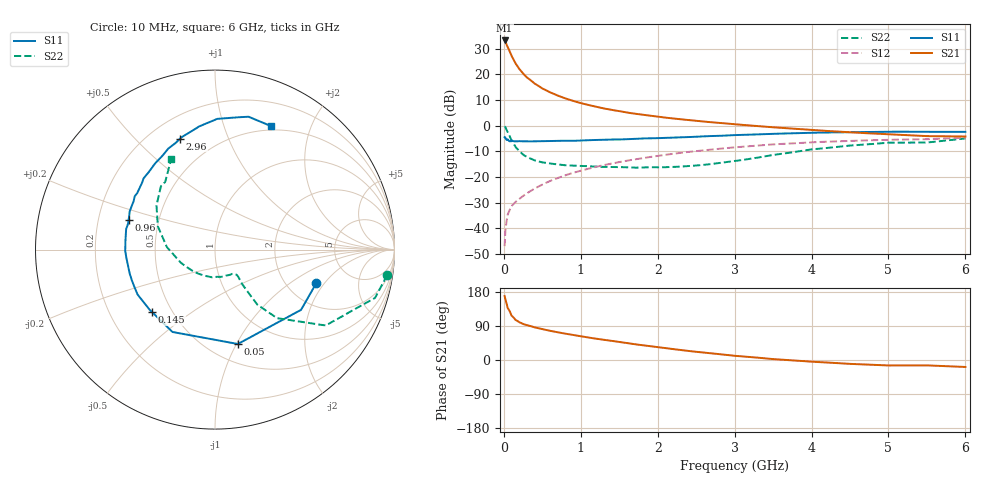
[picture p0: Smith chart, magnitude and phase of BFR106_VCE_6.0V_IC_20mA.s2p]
! Infineon Technologies  Discrete & RF Semiconductors
! BFR106
! VCE =  6.0 V,  IC =  20 mA
! Common Emitter S-Parameters:  Nov 2015
# GHz  S  MA  R  50
!  f  S11  S21  S12  S22
! GHz  MAG  ANG  MAG  ANG  MAG  ANG  MAG  ANG
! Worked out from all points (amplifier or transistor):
!   210 points, 10 MHz to 6 GHz, reference 50 ohm
!   highest |S21| = 33.1 dB at 10 MHz (marker M1)
!   |S21| within 3 dB of that: start of sweep to 57.69 MHz
!   unconditionally stable (mu >= 1): 381.4 MHz to 2.106 GHz
!   at 185 MHz: K = 0.76, MSG = 25.8 dB, |S12| = -28.9 dB
!   at 1.52 GHz: K = 1.06, MAG = 8.4 dB, |S12| = -14.1 dB
!   at 6 GHz: K = 0.99, MSG = 0.2 dB, |S12| = -4.7 dB
!   S11 on the Smith chart (normalised r, x): 10 MHz: 2.89, -1.66; 50 MHz: 0.68, -1.01; 145 MHz: 0.39, -0.36; 960 MHz: 0.33, +0.15; 2.96 GHz: 0.32, +0.68; 6 GHz: 0.46, +1.46
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0.01  0.5948 -18.2  45.38 168.8  0.0045 84.3  0.9693 -8.5
0.02  0.5853 -35.0  43.22 159.6  0.0089 75.7  0.9314 -16.8
0.05  0.5411 -76.4  34.06 137.1  0.0185 61.9  0.7478 -34.4
0.1  0.5165 -117.3  22.75 117.1  0.0271 54.7  0.5148 -47.9
0.145  0.4941 -135.5  16.93 107.5  0.0319 53.7  0.3991 -51.8
0.15  0.4948 -137.6  16.32 106.0  0.0324 53.6  0.3864 -52.4
0.2  0.4986 -149.9  12.7 99.8  0.0373 56.3  0.3182 -52.3
0.26  0.4939 -159.4  9.946 94.3  0.0437 59.1  0.2661 -52.0
0.3  0.4937 -164.2  8.651 91.6  0.048 60.6  0.245 -51.8
0.4  0.4952 -173.2  6.577 86.1  0.0593 63.3  0.2105 -50.0
0.5  0.5002 -179.2  5.281 81.2  0.071 65.1  0.1922 -49.2
0.6  0.5011 175.3  4.445 77.0  0.0834 66.3  0.1828 -49.7
0.8  0.508 167.1  3.376 69.4  0.1079 66.6  0.1689 -53.0
0.96  0.5087 161.0  2.849 64.1  0.1276 66.2  0.1649 -56.2
1.02  0.513 158.7  2.693 62.1  0.1349 65.8  0.1639 -58.2
1.4  0.5371 146.4  2.019 50.5  0.1824 62.9  0.157 -71.9
2.02  0.5706 129.4  1.478 33.4  0.2598 55.8  0.1544 -102.8
2.96  0.6483 107.4  1.075 12.0  0.3724 42.8  0.2007 -157.5
3.1  0.6592 104.6  1.033 9.5  0.3872 40.5  0.2139 -165.1
4.1  0.7306 87.5  0.805 -5.5  0.48 25.0  0.355 154.4
5.1  0.7613 74.6  0.666 -14.4  0.5326 10.9  0.4651 129.6
6  0.7556 65.4  0.613 -18.4  0.5795 0.4  0.562 115.7
